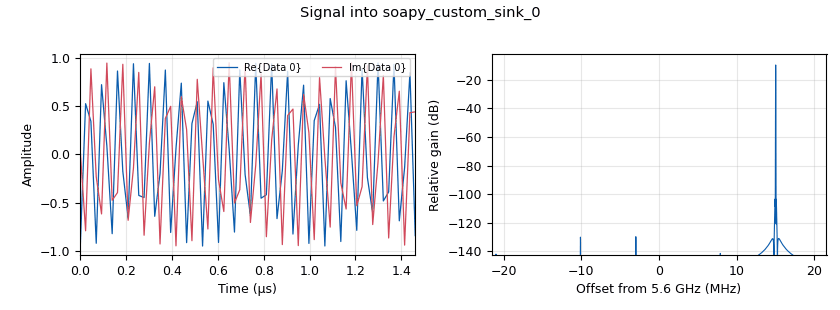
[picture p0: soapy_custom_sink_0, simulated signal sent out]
options:
  parameters:
    generate_options: qt_gui
    generator_class_name: PythonQtGuiGenerator
    generator_module: gnuradio.grc.workflows.python_qt_gui
    id: test_complex
    output_language: python
    title: open.space testing
  states: {}

blocks:
- name: freq
  id: variable
  parameters:
    value: 5.6e9
  states: {}
- name: samp_rate
  id: variable
  parameters:
    value: '43130880'
  states: {}
- name: analog_sig_source_x_0
  id: analog_sig_source_x
  parameters:
    amp: '0.95'
    freq: 15.0123e6
    offset: '0'
    phase: '0'
    samp_rate: samp_rate
    type: complex
    waveform: analog.GR_SIN_WAVE
  states: {}
- name: soapy_custom_sink_0
  id: soapy_custom_sink
  parameters:
    antenna0: RX
    center_freq0: freq
    driver: mipi
    samp_rate: samp_rate
    type: fc32
  states: {}

connections:
- [analog_sig_source_x_0, '0', soapy_custom_sink_0, '0']

metadata:
  file_format: 1
  grc_version: 3.10.12.0
